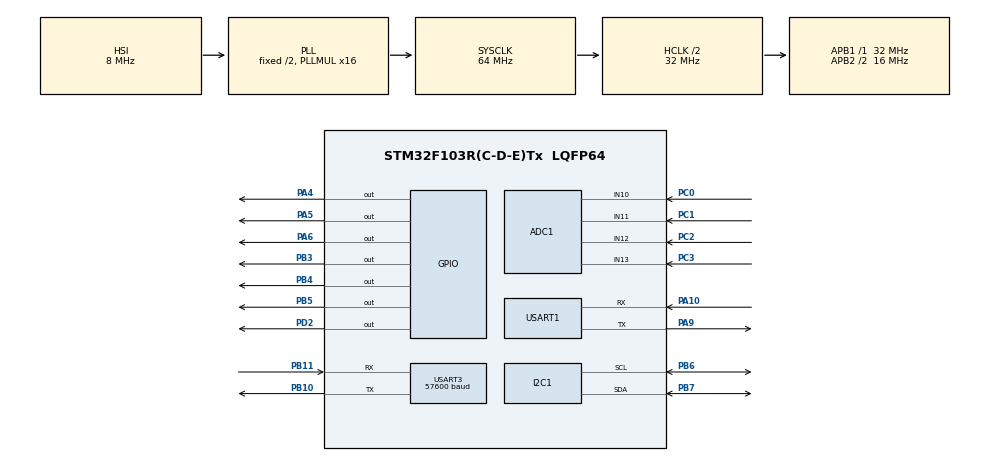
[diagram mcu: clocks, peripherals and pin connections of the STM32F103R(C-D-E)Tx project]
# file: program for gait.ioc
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ADC1.Channel-0\#ChannelRegularConversion=ADC_CHANNEL_10
ADC1.Channel-1\#ChannelRegularConversion=ADC_CHANNEL_11
ADC1.Channel-2\#ChannelRegularConversion=ADC_CHANNEL_12
ADC1.Channel-3\#ChannelRegularConversion=ADC_CHANNEL_13
ADC1.DiscontinuousConvMode=ENABLE
ADC1.NbrOfConversion=4
ADC1.NbrOfConversionFlag=1
ADC1.Rank-0\#ChannelRegularConversion=1
ADC1.Rank-1\#ChannelRegularConversion=2
ADC1.Rank-2\#ChannelRegularConversion=3
ADC1.Rank-3\#ChannelRegularConversion=4
ADC1.SamplingTime-0\#ChannelRegularConversion=ADC_SAMPLETIME_1CYCLE_5
ADC1.SamplingTime-1\#ChannelRegularConversion=ADC_SAMPLETIME_1CYCLE_5
ADC1.SamplingTime-2\#ChannelRegularConversion=ADC_SAMPLETIME_1CYCLE_5
ADC1.SamplingTime-3\#ChannelRegularConversion=ADC_SAMPLETIME_1CYCLE_5
ADC1.master=1
I2C1.OwnAddress=0x9
Mcu.Family=STM32F1
Mcu.Name=STM32F103R(C-D-E)Tx
Mcu.Package=LQFP64
NVIC.PriorityGroup=NVIC_PRIORITYGROUP_4
PA10.Mode=Asynchronous
PA10.Signal=USART1_RX
PA13.Mode=Serial_Wire
PA13.Signal=SYS_JTMS-SWDIO
PA14.Mode=Serial_Wire
PA14.Signal=SYS_JTCK-SWCLK
PA4.PinState=GPIO_PIN_SET
PA4.Signal=GPIO_Output
PA5.Signal=GPIO_Output
PA6.Signal=GPIO_Output
PA9.Mode=Asynchronous
PA9.Signal=USART1_TX
PB10.Mode=Asynchronous
PB10.Signal=USART3_TX
PB11.Mode=Asynchronous
PB11.Signal=USART3_RX
PB3.Signal=GPIO_Output
PB4.Signal=GPIO_Output
PB5.Signal=GPIO_Output
PB6.Mode=I2C
PB6.Signal=I2C1_SCL
PB7.Mode=I2C
PB7.Signal=I2C1_SDA
PC0.Signal=ADCx_IN10
PC1.Signal=ADCx_IN11
PC2.Signal=ADCx_IN12
PC3.Signal=ADCx_IN13
PD2.Signal=GPIO_Output
ProjectManager.HeapSize=0x200
ProjectManager.StackSize=0x400
ProjectManager.TargetToolchain=MDK-ARM V5
RCC.AHBCLKDivider=RCC_SYSCLK_DIV2
RCC.AHBFreq_Value=32000000
RCC.APB1Freq_Value=32000000
RCC.APB1TimFreq_Value=32000000
RCC.APB2CLKDivider=RCC_HCLK_DIV2
RCC.APB2Freq_Value=16000000
RCC.APB2TimFreq_Value=32000000
RCC.HCLKFreq_Value=32000000
RCC.PLLMUL=RCC_PLL_MUL16
RCC.SYSCLKFreq_VALUE=64000000
RCC.SYSCLKSource=RCC_SYSCLKSOURCE_PLLCLK
RCC.USBFreq_Value=64000000
SH.ADCx_IN10.0=ADC1_IN10,IN10
SH.ADCx_IN11.0=ADC1_IN11,IN11
SH.ADCx_IN12.0=ADC1_IN12,IN12
SH.ADCx_IN13.0=ADC1_IN13,IN13
USART1.VirtualMode=VM_ASYNC
USART3.BaudRate=57600
USART3.VirtualMode=VM_ASYNC
board=custom

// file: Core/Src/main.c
/* USER CODE BEGIN Header */
/**
  ******************************************************************************
  * @file           : main.c
  * @brief          : Main program body
  ******************************************************************************
  * @attention
  *
  * Copyright (c) 2023 STMicroelectronics.
  * All rights reserved.
  *
  * This software is licensed under terms that can be found in the LICENSE file
  * in the root directory of this software component.
  * If no LICENSE file comes with this software, it is provided AS-IS.
  *
  ******************************************************************************
  */
/* USER CODE END Header */
#include "main.h"
#include "adc.h"
#include "i2c.h"
#include "usart.h"
#include "gpio.h"

/* USER CODE BEGIN Includes */
#include "stdio.h"
#include "string.h"
#include "Delay.h"
/* USER CODE END Includes */

/* USER CODE BEGIN PD */
//#ifdef __GNUC__
//  #define PUTCHAR_PROTOTYPE int __io_putchar(int ch)
//#else
//  #define PUTCHAR_PROTOTYPE int fputc(int ch, FILE *f)
//#endif
//
//PUTCHAR_PROTOTYPE
//{
//  HAL_UART_Transmit(&huart1,(uint8_t *)&ch,1,0xFFFF);//??????,??1
//  return ch;
//}

//重定向printf多个串口输出
#ifndef __CK_H
#define __CK_H
#include "stm32f1xx_hal.h"
#define  P_USART1   1;
#define  P_USART2   2;
#define  P_USART3   3;
uint8_t  P_Flag = P_USART1;
#define  UART_START_USART1()   {P_Flag = P_USART1;}
#define  UART_START_USART2()   {P_Flag = P_USART2;}
#define  UART_START_USART3()   {P_Flag = P_USART3;}

int fputc(int ch,FILE *stream)
{
  switch(P_Flag)
  {
    case 1:HAL_UART_Transmit(&huart1,(uint8_t *)&ch,1,2);
          break;
    case 3:HAL_UART_Transmit(&huart3,(uint8_t *)&ch,1,2);
          break;
    default: break;
  }
  return ch;
}
int fputc(int ch,FILE *stream);
#endif

//AT指令定义
#define AT_start  "+++a"       //进入串口AT指令模式
#define AT_slave  "AT+MODE=S"  //切换为从设备模式，切换完重启
#define AT_flag   "AT+LINK"    //主设备连接后，从设备发送link可查询是否连接成功
#define AT_end    "AT+ENTM"    //退出指令模式
#define AT_mode   "AT+WMODE=0" //配置为透传模式

/* USER CODE END PD */

/* USER CODE BEGIN PV */
uint16_t adcBuf[16];    //adc采集储存数组
uint8_t REG_configuration[2]={0x12,0};  //开始转换寄存器指令
uint16_t capBuf[9];     //16位cap采集储存数组
double capValue[9];     //真实电容 单位PF
double adcVoc[16];      //adc真实电压 单位mV
/* USER CODE END PV */

void SystemClock_Config(void);
/* USER CODE BEGIN PFP */
void AD7150_Init(void);
void select_res_unit(int Row);
void select_cap_unit(int Row,int Col);
void BLE106_Init(void);
void for_delay_us(uint32_t nus);

/* USER CODE END PFP */

int main(void)
{

  /* MCU Configuration--------------------------------------------------------*/

  /* Reset of all peripherals, Initializes the Flash interface and the Systick. */
  HAL_Init();

  /* Configure the system clock */
  SystemClock_Config();

  /* Initialize all configured peripherals */
  MX_GPIO_Init();
  MX_ADC1_Init();
  MX_I2C1_Init();
  MX_USART1_UART_Init();
  MX_USART3_UART_Init();
  /* USER CODE BEGIN 2 */
  AD7150_Init();
	BLE106_Init();
	HAL_Delay(10000);   //等待10s再采集
  /* USER CODE END 2 */

  /* Infinite loop */
  while (1)
  {

    /* USER CODE BEGIN 3 */

				//电阻采集
		for(int i=0;i<4;i++)
		{
			uint8_t low,high;
			select_res_unit(i+1);
			HAL_Delay(3);                //延迟稳定电平
			for(int j=0;j<4;j++)
      {
			  HAL_ADC_Start(&hadc1);
			  HAL_ADC_PollForConversion(&hadc1,50);
			  adcBuf[i*4+j]=HAL_ADC_GetValue(&hadc1);   //获取ADC数值
        high=(uint8_t)(adcBuf[i*4+j]>>8);         //拆分成高低2个u8数据
        low=(uint8_t)(adcBuf[i*4+j]&0xFF);

				HAL_UART_Transmit(&huart3 , &high, 1, 0xff);
        HAL_UART_Transmit(&huart3 , &low, 1, 0xff);

			  //adcVoc[i*4+j]=(double)((double)((int)adcBuf[i*4+j]*330)/4096);   //单位mV
				//UART_START_USART3();
			  //printf("Resistance %u = %f\r\n", (i*4+j+1) ,adcVoc[i*4+j]);

		  }
			HAL_ADC_Stop(&hadc1);
		}

		//电容采集
		uint8_t data[2];
		uint8_t cap_low;
		uint8_t cap_high;

		//测单个单元的数据
//		select_cap_unit(2,2);
//		HAL_Delay(1);
//		HAL_I2C_Mem_Write(&hi2c1,0x90,0x0F,I2C_MEMADD_SIZE_8BIT,(uint8_t*)REG_configuration,1,1000);
//		HAL_Delay(10);
//		HAL_I2C_Mem_Read(&hi2c1,0x90,0x01,I2C_MEMADD_SIZE_8BIT,data,2,1000);
//		capBuf[0]=((uint16_t)data[0] << 8) | data[1];          //将两个高低8位二进制拼成16位
//		capValue[0]=(double)((double)((int)data[0]*256+(int)data[1])-12288)/40944*4;
//		UART_START_USART3();
//		printf("Capacitance=%f\r\n",capValue[0]);   //通过串口3蓝牙传输出去，一个单元数据
//		//HAL_UART_Transmit(&huart3,(uint8_t *)data, 2, 0xffff);//传输2字节数据

		//测所有单元的数据
		for(int i=1;i<4;i++)
		{
			for(int j=1;j<4;j++)
			{
				select_cap_unit(i,j);
				HAL_Delay(1);             //延迟稳定电平
				HAL_I2C_Mem_Write(&hi2c1,0x90,0x0F,I2C_MEMADD_SIZE_8BIT,(uint8_t*)REG_configuration,1,1000);
				HAL_Delay(5);             //转换需要5ms
				HAL_I2C_Mem_Read(&hi2c1,0x90,0x01,I2C_MEMADD_SIZE_8BIT,data,2,1000);
				//cap_low=((data[0]<<4)+(data[1]>>4));
				//cap_high=data[0]>>4;

				//capBuf[(i-1)*3+(j-1)]=((uint16_t)data[0] << 8) | data[1];          //将两个高低8位二进制拼成16位
				//capValue[(i-1)*3+(j-1)]=(double)((double)((int)data[0]*256+(int)data[1])-12288)/40944*4;

				//printf("%u\r\n",(int)data[0]*256+(int)data[1]);
				//UART_START_USART3();
				//printf("Capacitance %u = %f\r\n", ((i-1)*3+j) ,capValue[(i-1)*3+(j-1)]);   //通过串口3蓝牙传输出去，所有单元数据

				HAL_UART_Transmit(&huart3,(uint8_t *)data, 2, 0xffff);//传输2字节数据
       }
    }
//		count=0;
//		HAL_UART_Transmit(&huart3,(uint8_t *)data1, 50, 0xffff);//传输50字节数据

				//printf("0x%04x\r\n",capBuf[(i-1)*3+(j-1)]);传输16进制数据
				//HAL_UART_Transmit(&huart3,(uint8_t *)data, 2, 0xffff);//传输2字节数据
			//if(i==2)
//			{
//				UART_START_USART1();  //通过串口1输出到电脑上
//				printf("Capacitance %u = %f\r\n", 5 ,capValue[4]);
//			}
			}
}

		//蓝牙传输

  /* USER CODE END 3 */

void SystemClock_Config(void)
{
  RCC_OscInitTypeDef RCC_OscInitStruct = {0};
  RCC_ClkInitTypeDef RCC_ClkInitStruct = {0};
  RCC_PeriphCLKInitTypeDef PeriphClkInit = {0};

  /** Initializes the RCC Oscillators according to the specified parameters
  * in the RCC_OscInitTypeDef structure.
  */
  RCC_OscInitStruct.OscillatorType = RCC_OSCILLATORTYPE_HSI;
  RCC_OscInitStruct.HSIState = RCC_HSI_ON;
  RCC_OscInitStruct.HSICalibrationValue = RCC_HSICALIBRATION_DEFAULT;
  RCC_OscInitStruct.PLL.PLLState = RCC_PLL_ON;
  RCC_OscInitStruct.PLL.PLLSource = RCC_PLLSOURCE_HSI_DIV2;
  RCC_OscInitStruct.PLL.PLLMUL = RCC_PLL_MUL16;
  if (HAL_RCC_OscConfig(&RCC_OscInitStruct) != HAL_OK)
  {
    Error_Handler();
  }

  /** Initializes the CPU, AHB and APB buses clocks
  */
  RCC_ClkInitStruct.ClockType = RCC_CLOCKTYPE_HCLK|RCC_CLOCKTYPE_SYSCLK
                              |RCC_CLOCKTYPE_PCLK1|RCC_CLOCKTYPE_PCLK2;
  RCC_ClkInitStruct.SYSCLKSource = RCC_SYSCLKSOURCE_PLLCLK;
  RCC_ClkInitStruct.AHBCLKDivider = RCC_SYSCLK_DIV2;
  RCC_ClkInitStruct.APB1CLKDivider = RCC_HCLK_DIV1;
  RCC_ClkInitStruct.APB2CLKDivider = RCC_HCLK_DIV2;

  if (HAL_RCC_ClockConfig(&RCC_ClkInitStruct, FLASH_LATENCY_2) != HAL_OK)
  {
    Error_Handler();
  }
  PeriphClkInit.PeriphClockSelection = RCC_PERIPHCLK_ADC;
  PeriphClkInit.AdcClockSelection = RCC_ADCPCLK2_DIV2;
  if (HAL_RCCEx_PeriphCLKConfig(&PeriphClkInit) != HAL_OK)
  {
    Error_Handler();
  }
}

/* USER CODE BEGIN 4 */
//AD7150初始化
void AD7150_Init(void)
{
	uint8_t REG_setup[2] = {0xCB,0x00};
	uint8_t REG_dcap[2] = {0xC0,0x00};
	uint8_t REG_configuration1[2] = {0x10,0x00};
	//uint8_t REG_setup=0xCB;
	//uint8_t REG_dcap=0xC0;
	//uint8_t REG_configuration1=0x10;
	HAL_I2C_Mem_Write(&hi2c1,0x90,0x0B,I2C_MEMADD_SIZE_8BIT,(uint8_t*)REG_setup,1,1000);
	HAL_Delay(20);
	HAL_I2C_Mem_Write(&hi2c1,0x90,0x11,I2C_MEMADD_SIZE_8BIT,(uint8_t*)REG_dcap,1,1000);
	HAL_I2C_Mem_Write(&hi2c1,0x90,0x0F,I2C_MEMADD_SIZE_8BIT,(uint8_t*)REG_configuration1,1,1000);
}

//电阻行电极选择函数说明
void select_res_unit(int Row)
{
	switch(Row)
	{
		//Rcontrol1 PA5;Rcontrol2 PA6;
		//0 0->Row1;1 0->Row2;0 1->Row3;1 1->Row4
		case 1:
			HAL_GPIO_WritePin(GPIOA, GPIO_PIN_5|GPIO_PIN_6, GPIO_PIN_RESET);break;
		case 2:
			HAL_GPIO_WritePin(GPIOA, GPIO_PIN_5, GPIO_PIN_SET);HAL_GPIO_WritePin(GPIOA, GPIO_PIN_6, GPIO_PIN_RESET);break;
		case 3:
			HAL_GPIO_WritePin(GPIOA, GPIO_PIN_5, GPIO_PIN_RESET);HAL_GPIO_WritePin(GPIOA, GPIO_PIN_6, GPIO_PIN_SET);break;
		case 4:
			HAL_GPIO_WritePin(GPIOA, GPIO_PIN_5, GPIO_PIN_SET);HAL_GPIO_WritePin(GPIOA, GPIO_PIN_6, GPIO_PIN_SET);break;
	}
}

//电容单元选择函数说明
void select_cap_unit(int Row,int Col)
{
	switch(Row)
	{
		//Ccontrol1 PB5;Ccontrol2 PB4;
		//1 0->Row1;0 1->Row2;1 1->Row3
		case 1:
			HAL_GPIO_WritePin(GPIOB, GPIO_PIN_5, GPIO_PIN_SET);HAL_GPIO_WritePin(GPIOB, GPIO_PIN_4, GPIO_PIN_RESET);break;
		case 2:
			HAL_GPIO_WritePin(GPIOB, GPIO_PIN_5, GPIO_PIN_RESET);HAL_GPIO_WritePin(GPIOB, GPIO_PIN_4, GPIO_PIN_SET);break;
		case 3:
			HAL_GPIO_WritePin(GPIOB, GPIO_PIN_5, GPIO_PIN_SET);HAL_GPIO_WritePin(GPIOB, GPIO_PIN_4, GPIO_PIN_SET);break;
	}
	switch(Col)
	{
		//Ccontrol3 PB3;Ccontrol4 PD2;
		//1 0->Col1;0 1->Col2;1 1->Col3
		case 1:
			HAL_GPIO_WritePin(GPIOB, GPIO_PIN_3, GPIO_PIN_SET);HAL_GPIO_WritePin(GPIOD, GPIO_PIN_2, GPIO_PIN_RESET);break;
		case 2:
			HAL_GPIO_WritePin(GPIOB, GPIO_PIN_3, GPIO_PIN_RESET);HAL_GPIO_WritePin(GPIOD, GPIO_PIN_2, GPIO_PIN_SET);break;
		case 3:
			HAL_GPIO_WritePin(GPIOB, GPIO_PIN_3, GPIO_PIN_SET);HAL_GPIO_WritePin(GPIOD, GPIO_PIN_2, GPIO_PIN_SET);break;
	}
}

//蓝牙模块初始化-AT配置
void BLE106_Init(void)
{
//#define AT_start  "+++a"       //进入串口AT指令模式
//#define AT_slave  "AT+MODE=S"  //切换为从设备模式，切换完重启
//#define AT_flag   "AT+LINK"    //主设备连接后，从设备发送link可查询是否连接成功
//#define AT_end    "AT+ENTM"    //退出指令模式
//#define AT_mode   "AT+WMODE=0" //配置为透传模式
	  char *AT_Start="+++a\r\n";
    char *AT_Slave="AT+MODE=S\r\n";
    char *AT_Flag="AT+LINK\r\n";
    char *AT_End="AT+ENTM\r\n";
    char *AT_Mode="AT+WMODE=0";
    char *AT_Speed="AT+SPD=HIGH";

		HAL_UART_Transmit(&huart3,(uint8_t *)AT_Start, strlen(AT_Start), 0xffff);
		HAL_UART_Transmit(&huart3,(uint8_t *)AT_Slave, strlen(AT_Slave), 0xffff);
		HAL_UART_Transmit(&huart3,(uint8_t *)AT_Start, strlen(AT_Start), 0xffff);
		HAL_UART_Transmit(&huart3,(uint8_t *)AT_Flag, strlen(AT_Flag), 0xffff);
		HAL_UART_Transmit(&huart3,(uint8_t *)AT_Mode, strlen(AT_Mode), 0xffff);
		HAL_UART_Transmit(&huart3,(uint8_t *)AT_Speed, strlen(AT_Speed), 0xffff);
		HAL_UART_Transmit(&huart3,(uint8_t *)AT_End, strlen(AT_End), 0xffff);
}

void for_delay_us(uint32_t nus)
{
    uint32_t Delay = nus * 168/4;
    do
    {
        __NOP();
    }
    while (Delay --);
}

/* USER CODE END 4 */

void Error_Handler(void)
{
  __disable_irq();
  while (1)
  {
  }
}
